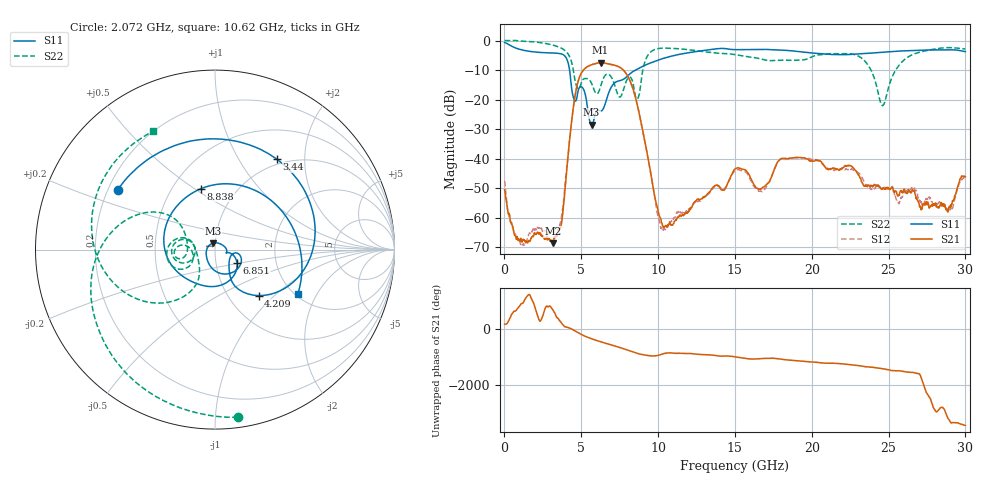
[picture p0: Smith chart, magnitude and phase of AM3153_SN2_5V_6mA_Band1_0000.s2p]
!Agilent Technologies,E8364B,MY43040894,A.07.50.67
!Agilent E8364B: A.07.50.67
!Date: Tuesday, May 12, 2020 09:42:29
!Correction: S11(Full 2 Port(1,2))
!S21(Full 2 Port(1,2))
!S12(Full 2 Port(1,2))
!S22(Full 2 Port(1,2))
!S2P File: Measurements: S11, S21, S12, S22:
# Hz S  dB  R 50
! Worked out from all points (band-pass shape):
!   1601 points, 10 MHz to 30 GHz, reference 50 ohm
!   highest |S21| = -7.52 dB at 6.252 GHz (marker M1); lowest = -68.5 dB at 3.14 GHz (marker M2)
!   |S21| within 3 dB of the highest: 5.062 GHz to 7.83 GHz (2.768 GHz wide, 42.9 % of centre)
!   lowest |S11| = -28.4 dB at 5.671 GHz (marker M3), VSWR 1.08, Z = 48.7 + j3.52 ohm
!   |S11| at or under -10 dB: 4.239 GHz to 8.528 GHz (4.289 GHz wide, 67.2 % of centre)
!   |S22| runs from -22.0 to 0.0 dB; largest |S21 - S12| = 0.0072
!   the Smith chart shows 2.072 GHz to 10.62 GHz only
!   S11 on the Smith chart (normalised r, x): 2.072 GHz: 0.24, +0.27; 3.44 GHz: 0.92, +1.47; 4.209 GHz: 1.37, -0.80; 6.851 GHz: 1.26, -0.19; 8.838 GHz: 0.69, +0.53; 10.62 GHz: 2.05, -1.41
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1e7  -0.67 -12.1  -50.52 179.4  -47.46 -4.1  0.02 -2.6
1.022162e9  -3.02 -136.6  -67.79 130.4  -68.58 54.3  -0.12 -40.1
2.071812e9  -3.92 148.5  -65.27 -91.4  -63.77 88.0  -0.51 -82.3
3.140206e9  -4.21 79.8  -68.53 -25.9  -64.55 88.5  -1.52 -128.6
3.440106e9  -4.29 55.8  -65.33 40.9  -63.52 -126.1  -2.01 -143.4
4.2086e9  -9.03 -46.5  -35.24 45.8  -35.16 47.3  -5.12 166.0
5.014581e9  -15.68 -43.3  -10.91 168.9  -10.92 169.0  -14.07 -165.2
5.670612e9  -28.43 107.9  -8.20 17.6  -8.21 17.8  -14.48 172.4
6.251669e9  -23.83 -17.1  -7.52 -87.8  -7.55 -87.6  -15.60 -147.6
6.851469e9  -16.84 -31.6  -7.97 173.8  -8.00 174.1  -11.68 176.5
8.838306e9  -9.15 102.7  -26.35 -170.5  -26.41 -170.6  -16.13 -123.7
1.001916e10  -6.59 4.2  -58.16 148.1  -59.87 144.6  -2.71 151.4
1.061896e10  -5.61 -28.5  -63.11 -126.2  -62.37 -33.8  -2.57 117.7
1.279324e10  -3.49 -109.4  -53.66 176.4  -54.20 177.3  -3.63 21.8
1.5005e10  -3.08 -175.0  -43.44 93.7  -44.09 89.3  -4.75 -66.6
1.792902e10  -3.21 101.4  -40.25 13.7  -40.28 15.4  -6.67 172.7
2.000958e10  -4.20 26.9  -40.71 -91.3  -40.17 -90.7  -5.52 23.3
2.132164e10  -4.71 -25.9  -43.27 -136.4  -43.84 -139.8  -4.43 -78.4
2.276491e10  -4.62 -84.3  -43.39 158.1  -44.01 156.6  -4.70 -162.3
2.501416e10  -3.81 -162.5  -50.11 -9.2  -49.85 -15.6  -15.54 -85.8
2.73009e10  -3.21 133.3  -55.12 141.1  -56.23 76.1  -3.60 169.1
3e10  -3.75 74.5  -46.09 165.0  -45.76 152.8  -2.87 92.6
